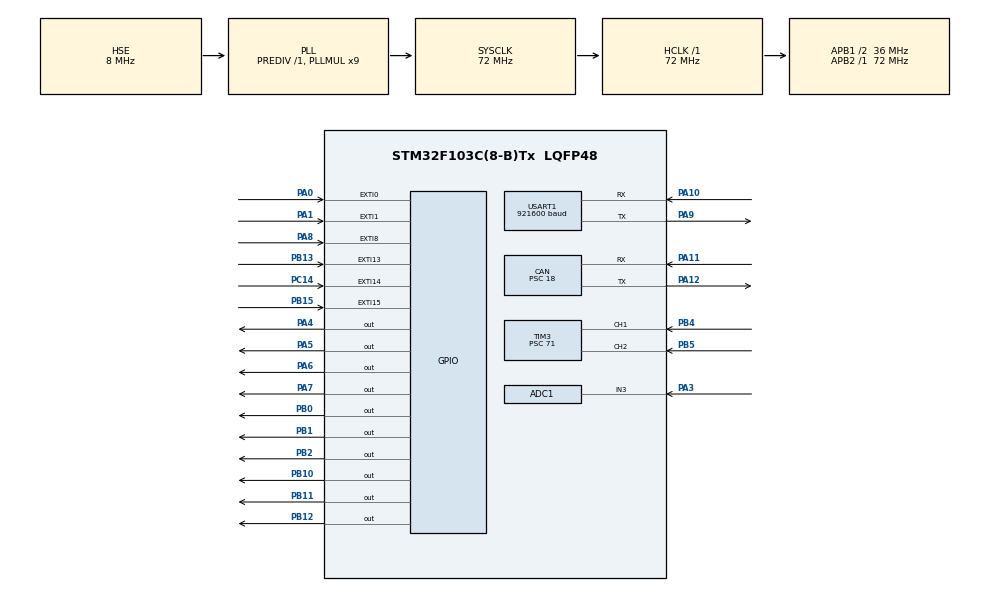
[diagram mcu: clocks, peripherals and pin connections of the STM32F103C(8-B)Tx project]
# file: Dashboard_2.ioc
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ADC1.Channel-0\#ChannelRegularConversion=ADC_CHANNEL_3
ADC1.NbrOfConversionFlag=1
ADC1.Rank-0\#ChannelRegularConversion=1
ADC1.SamplingTime-0\#ChannelRegularConversion=ADC_SAMPLETIME_1CYCLE_5
ADC1.master=1
CAN.BS1=CAN_BS1_14TQ
CAN.CalculateBaudRate=125000
CAN.CalculateTimeBit=8000
CAN.CalculateTimeQuantum=500.0
CAN.Prescaler=18
Mcu.Family=STM32F1
Mcu.Name=STM32F103C(8-B)Tx
Mcu.Package=LQFP48
NVIC.CAN1_RX1_IRQn=true\:0\:0\:false\:false\:true\:true\:true\:true
NVIC.EXTI0_IRQn=true\:0\:0\:false\:false\:true\:true\:true\:true
NVIC.EXTI15_10_IRQn=true\:0\:0\:false\:false\:true\:true\:true\:true
NVIC.EXTI1_IRQn=true\:0\:0\:false\:false\:true\:true\:true\:true
NVIC.EXTI9_5_IRQn=true\:0\:0\:false\:false\:true\:true\:true\:true
NVIC.PriorityGroup=NVIC_PRIORITYGROUP_4
NVIC.TIM1_UP_IRQn=true\:0\:0\:false\:false\:true\:true\:true\:true
NVIC.TIM3_IRQn=true\:0\:0\:false\:false\:true\:true\:true\:true
NVIC.TIM4_IRQn=true\:0\:0\:false\:false\:true\:true\:true\:true
NVIC.USART1_IRQn=true\:0\:0\:false\:false\:true\:true\:true\:true
NVIC.USB_LP_CAN1_RX0_IRQn=true\:0\:0\:false\:false\:true\:true\:true\:true
PA0-WKUP.GPIO_ModeDefaultEXTI=GPIO_MODE_IT_RISING
PA0-WKUP.GPIO_PuPd=GPIO_PULLUP
PA0-WKUP.Signal=GPXTI0
PA1.GPIO_PuPd=GPIO_PULLUP
PA1.Signal=GPXTI1
PA10.Mode=Asynchronous
PA10.Signal=USART1_RX
PA11.Mode=CAN_Activate
PA11.Signal=CAN_RX
PA12.Mode=CAN_Activate
PA12.Signal=CAN_TX
PA13.Mode=Serial_Wire
PA13.Signal=SYS_JTMS-SWDIO
PA14.Mode=Serial_Wire
PA14.Signal=SYS_JTCK-SWCLK
PA3.Signal=ADCx_IN3
PA4.Signal=GPIO_Output
PA5.Signal=GPIO_Output
PA6.Signal=GPIO_Output
PA7.Signal=GPIO_Output
PA8.GPIO_PuPd=GPIO_PULLUP
PA8.Signal=GPXTI8
PA9.Mode=Asynchronous
PA9.Signal=USART1_TX
PB0.Signal=GPIO_Output
PB1.Signal=GPIO_Output
PB10.Signal=GPIO_Output
PB11.Signal=GPIO_Output
PB12.Signal=GPIO_Output
PB13.GPIO_PuPd=GPIO_PULLUP
PB13.Signal=GPXTI13
PB15.GPIO_PuPd=GPIO_PULLUP
PB15.Signal=GPXTI15
PB2.Signal=GPIO_Output
PB4.Signal=S_TIM3_CH1
PB5.Signal=S_TIM3_CH2
PC14-OSC32_IN.GPIO_PuPd=GPIO_PULLUP
PC14-OSC32_IN.Signal=GPXTI14
PD0-OSC_IN.Mode=HSE-External-Oscillator
PD0-OSC_IN.Signal=RCC_OSC_IN
PD1-OSC_OUT.Mode=HSE-External-Oscillator
PD1-OSC_OUT.Signal=RCC_OSC_OUT
ProjectManager.HeapSize=0x200
ProjectManager.StackSize=0x400
ProjectManager.TargetToolchain=STM32CubeIDE
RCC.ADCPresc=RCC_ADCPCLK2_DIV6
RCC.AHBFreq_Value=72000000
RCC.APB1CLKDivider=RCC_HCLK_DIV2
RCC.APB1Freq_Value=36000000
RCC.APB1TimFreq_Value=72000000
RCC.APB2Freq_Value=72000000
RCC.APB2TimFreq_Value=72000000
RCC.HCLKFreq_Value=72000000
RCC.PLLMUL=RCC_PLL_MUL9
RCC.PLLSourceVirtual=RCC_PLLSOURCE_HSE
RCC.SYSCLKFreq_VALUE=72000000
RCC.SYSCLKSource=RCC_SYSCLKSOURCE_PLLCLK
RCC.USBFreq_Value=72000000
SH.ADCx_IN3.0=ADC1_IN3,IN3
SH.S_TIM3_CH1.0=TIM3_CH1,Input_Capture1_from_TI1
SH.S_TIM3_CH2.0=TIM3_CH2,Input_Capture2_from_TI2
TIM1.Period=749
TIM1.Prescaler=7199
TIM2.Prescaler=7199
TIM3.Channel-Input_Capture1_from_TI1=TIM_CHANNEL_1
TIM3.Channel-Input_Capture2_from_TI2=TIM_CHANNEL_2
TIM3.Period=65535
TIM3.Prescaler=71
TIM4.Period=9999
TIM4.Prescaler=71
USART1.BaudRate=921600
USART1.VirtualMode=VM_ASYNC
VP_TIM1_VS_ClockSourceINT.Mode=Internal
VP_TIM2_VS_ClockSourceINT.Mode=Internal
VP_TIM3_VS_ClockSourceINT.Mode=Internal
VP_TIM4_VS_ClockSourceINT.Mode=Internal
board=custom

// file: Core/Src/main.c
/* USER CODE BEGIN Header */
/**
 ******************************************************************************
 * @file           : main.c
 * @brief          : Main program body
 ******************************************************************************
 * @attention
 *
 * Copyright (c) 2025 STMicroelectronics.
 * All rights reserved.
 *
 * This software is licensed under terms that can be found in the LICENSE file
 * in the root directory of this software component.
 * If no LICENSE file comes with this software, it is provided AS-IS.
 *
 ******************************************************************************
 */
/* USER CODE END Header */
#include "main.h"

/* USER CODE BEGIN Includes */
#include "string.h"

#include "Nextion_int.h"

#include "Dashboard_int.h"
#include "Dashboard_config.h"

#include "PROX_int.h"
#include "PROX_config.h"

/* USER CODE END Includes */

ADC_HandleTypeDef hadc1;

CAN_HandleTypeDef hcan;

TIM_HandleTypeDef htim1;
TIM_HandleTypeDef htim2;
TIM_HandleTypeDef htim3;
TIM_HandleTypeDef htim4;

UART_HandleTypeDef huart1;

/* USER CODE BEGIN PV */
uint32_t Global_u32Variable_Overflow_Counter = 0;

extern Nextion Lap_Time;
extern Nextion Last_Lap;
extern Nextion Best_Lap;

extern Nextion ERPM_Slider;
extern Nextion Temp_Slider;
extern Nextion Throttle_Slider;
extern Nextion Brake_Slider;
extern Nextion Battery_Perc;

extern uint8_t Current_Page;

uint16_t adc_value = 0;

//CAN_RxHeaderTypeDef Rx_Led_on;
//
//uint8_t RxData[8];
/* USER CODE END PV */

void SystemClock_Config(void);
static void MX_GPIO_Init(void);
static void MX_CAN_Init(void);
static void MX_TIM1_Init(void);
static void MX_TIM3_Init(void);
static void MX_TIM4_Init(void);
static void MX_USART1_UART_Init(void);
static void MX_ADC1_Init(void);
static void MX_TIM2_Init(void);

/* USER CODE BEGIN 0 */
//uint64_t aData = 0;

void HAL_CAN_RxFifo0MsgPendingCallback(CAN_HandleTypeDef *hcan)
{
	CAN_Message(hcan);
}

//void HAL_CAN_RxFifo0MsgPendingCallback(CAN_HandleTypeDef *hcan)
//{
//
//	if (HAL_CAN_GetRxMessage(hcan, CAN_RX_FIFO0, &Rx_Led_on, RxData) == HAL_OK)
//	{
//
//
//
//		//itoa((uint8_t)RxData[0], numBuf, 10);
//
////		HAL_UART_Transmit(&huart, (uint8_t*)numBuf, strlen(numBuf), HAL_MAX_DELAY);
//		//HAL_UART_Transmit(&huart, (uint8_t*)"\r\n", 2, HAL_MAX_DELAY);
//
//	}
//
//}
void HAL_GPIO_EXTI_Callback(uint16_t GPIO_Pin)
{
	switch (GPIO_Pin)
	{
	case EXTI_LAP_RESET_BUTTON:     // PA0 - Lap Timer Reset
		LabTimer_Buttons_Callback(&htim1, GPIO_Pin);
		break;

	case EXTI_COUNT_STOP_BUTTON:    // PA1 - Start/Stop
		LabTimer_Buttons_Callback(&htim1, GPIO_Pin);
		break;

	case EXTI_DAQ_RESET_BUTTON:     // PA8 - DAQ Reset
		// TODO: add DAQ reset handler here
		break;

	case EXTI_PREV_PAGE_BUTTON:     // PB13 - Prev Page
		Nextion_PrevPage();
		break;

	case EXTI_NEXT_PAGE_BUTTON:     // PC14 - Next Page
		Nextion_NextPage();
		break;

	case EXTI_REGEN_BUTTON:         // PB15 - Regen Braking
		// TODO: add regen braking handler here
		break;

	default:
		break;
	}
}

void HAL_TIM_IC_CaptureCallback(TIM_HandleTypeDef *htim)
{
	if(htim->Instance == PROX_TIMER_NO)
	{
		PROX_ICUCallBack_ISR(&PROX_TIMER_HANDLE);
	}
}

void HAL_TIM_PeriodElapsedCallback(TIM_HandleTypeDef *htim)
{
	if(htim->Instance == PROX_TIMER_NO)  // TIM3
	{
		Global_u32Variable_Overflow_Counter++;
		PROX_OverflowCallBack_ISR(htim);
	}

	if(htim->Instance == DASHBOARD_BUTTONS_DEBOUNCE_TIMER_NO)  // TIM1
	{
		Debouncing_CallBack(&DASHBOARD_BUTTONS_DEBOUNCE_TIMER_HANDLE);
	}

	if(htim->Instance == DASHBOARD_LABSTOPWATCH_TIMER_NO)  // TIM4
	{
		LabTimer_CallBack_ISR();
	}
}

/* USER CODE END 0 */

int main(void)
{

  /* MCU Configuration--------------------------------------------------------*/

  /* Reset of all peripherals, Initializes the Flash interface and the Systick. */
  HAL_Init();

  /* Configure the system clock */
  SystemClock_Config();

  /* Initialize all configured peripherals */
  MX_GPIO_Init();
  MX_CAN_Init();
  MX_TIM1_Init();
  MX_TIM3_Init();
  MX_TIM4_Init();
  MX_USART1_UART_Init();
  MX_ADC1_Init();
  MX_TIM2_Init();
  /* USER CODE BEGIN 2 */
//	HAL_CAN_ActivateNotification(&hcan,CAN_IT_RX_FIFO0_MSG_PENDING);
//	HAL_CAN_Start(&hcan);

	Dashboard_Init();
	PROX_INIT();

	//HAL_ADC_Start(&hadc1);

  /* USER CODE END 2 */

  /* Infinite loop */
  /* USER CODE BEGIN WHILE */
	while (1)
	{
		Dashboard_CheckCAN();
    /* USER CODE END WHILE */

    /* USER CODE BEGIN 3 */
//		HAL_ADC_PollForConversion(&hadc1, HAL_MAX_DELAY);
//
//		hadc_value = HAL_ADC_GetValue(&hadc1);
//
//		Nextion_SetVal(&huart1, &Throttle_Slider, (adc_value/4095.0)*100);
//		Nextion_SetVal(&huart1, &Brake_Slider, (adc_value/4095.0)*100);
//		Nextion_SetVal(&huart1, &Temp_Slider, (adc_value/4095.0)*100);
//		Nextion_SetVal(&huart1, &ERPM_Slider, (adc_value/4095.0)*100);
//
//		HAL_Delay(15);
	}
  /* USER CODE END 3 */
}

void SystemClock_Config(void)
{
  RCC_OscInitTypeDef RCC_OscInitStruct = {0};
  RCC_ClkInitTypeDef RCC_ClkInitStruct = {0};
  RCC_PeriphCLKInitTypeDef PeriphClkInit = {0};

  /** Initializes the RCC Oscillators according to the specified parameters
  * in the RCC_OscInitTypeDef structure.
  */
  RCC_OscInitStruct.OscillatorType = RCC_OSCILLATORTYPE_HSE;
  RCC_OscInitStruct.HSEState = RCC_HSE_ON;
  RCC_OscInitStruct.HSEPredivValue = RCC_HSE_PREDIV_DIV1;
  RCC_OscInitStruct.HSIState = RCC_HSI_ON;
  RCC_OscInitStruct.PLL.PLLState = RCC_PLL_ON;
  RCC_OscInitStruct.PLL.PLLSource = RCC_PLLSOURCE_HSE;
  RCC_OscInitStruct.PLL.PLLMUL = RCC_PLL_MUL9;
  if (HAL_RCC_OscConfig(&RCC_OscInitStruct) != HAL_OK)
  {
    Error_Handler();
  }

  /** Initializes the CPU, AHB and APB buses clocks
  */
  RCC_ClkInitStruct.ClockType = RCC_CLOCKTYPE_HCLK|RCC_CLOCKTYPE_SYSCLK
                              |RCC_CLOCKTYPE_PCLK1|RCC_CLOCKTYPE_PCLK2;
  RCC_ClkInitStruct.SYSCLKSource = RCC_SYSCLKSOURCE_PLLCLK;
  RCC_ClkInitStruct.AHBCLKDivider = RCC_SYSCLK_DIV1;
  RCC_ClkInitStruct.APB1CLKDivider = RCC_HCLK_DIV2;
  RCC_ClkInitStruct.APB2CLKDivider = RCC_HCLK_DIV1;

  if (HAL_RCC_ClockConfig(&RCC_ClkInitStruct, FLASH_LATENCY_2) != HAL_OK)
  {
    Error_Handler();
  }
  PeriphClkInit.PeriphClockSelection = RCC_PERIPHCLK_ADC;
  PeriphClkInit.AdcClockSelection = RCC_ADCPCLK2_DIV6;
  if (HAL_RCCEx_PeriphCLKConfig(&PeriphClkInit) != HAL_OK)
  {
    Error_Handler();
  }
}

static void MX_ADC1_Init(void)
{

  ADC_ChannelConfTypeDef sConfig = {0};

  /** Common config
  */
  hadc1.Instance = ADC1;
  hadc1.Init.ScanConvMode = ADC_SCAN_DISABLE;
  hadc1.Init.ContinuousConvMode = DISABLE;
  hadc1.Init.DiscontinuousConvMode = DISABLE;
  hadc1.Init.ExternalTrigConv = ADC_SOFTWARE_START;
  hadc1.Init.DataAlign = ADC_DATAALIGN_RIGHT;
  hadc1.Init.NbrOfConversion = 1;
  if (HAL_ADC_Init(&hadc1) != HAL_OK)
  {
    Error_Handler();
  }

  /** Configure Regular Channel
  */
  sConfig.Channel = ADC_CHANNEL_3;
  sConfig.Rank = ADC_REGULAR_RANK_1;
  sConfig.SamplingTime = ADC_SAMPLETIME_1CYCLE_5;
  if (HAL_ADC_ConfigChannel(&hadc1, &sConfig) != HAL_OK)
  {
    Error_Handler();
  }

}

static void MX_CAN_Init(void)
{

  hcan.Instance = CAN1;
  hcan.Init.Prescaler = 18;
  hcan.Init.Mode = CAN_MODE_NORMAL;
  hcan.Init.SyncJumpWidth = CAN_SJW_1TQ;
  hcan.Init.TimeSeg1 = CAN_BS1_14TQ;
  hcan.Init.TimeSeg2 = CAN_BS2_1TQ;
  hcan.Init.TimeTriggeredMode = DISABLE;
  hcan.Init.AutoBusOff = DISABLE;
  hcan.Init.AutoWakeUp = DISABLE;
  hcan.Init.AutoRetransmission = DISABLE;
  hcan.Init.ReceiveFifoLocked = DISABLE;
  hcan.Init.TransmitFifoPriority = DISABLE;
  if (HAL_CAN_Init(&hcan) != HAL_OK)
  {
    Error_Handler();
  }
  /* USER CODE BEGIN CAN_Init 2 */
	CAN_FilterTypeDef canfilterconfig;

	canfilterconfig.FilterActivation = CAN_FILTER_ENABLE;
	canfilterconfig.FilterBank = 0;
	canfilterconfig.FilterFIFOAssignment = CAN_FILTER_FIFO0;
	canfilterconfig.FilterIdHigh = 0x0<<5;
	canfilterconfig.FilterIdLow = 0;
	canfilterconfig.FilterMaskIdHigh = 0x0<<5;
	canfilterconfig.FilterMaskIdLow = 0x0000;
	canfilterconfig.FilterMode = CAN_FILTERMODE_IDMASK;
	canfilterconfig.FilterScale = CAN_FILTERSCALE_16BIT;

	HAL_CAN_ConfigFilter(&hcan, &canfilterconfig);

  /* USER CODE END CAN_Init 2 */

}

static void MX_TIM1_Init(void)
{

  TIM_ClockConfigTypeDef sClockSourceConfig = {0};
  TIM_MasterConfigTypeDef sMasterConfig = {0};

  htim1.Instance = TIM1;
  htim1.Init.Prescaler = 7199;
  htim1.Init.CounterMode = TIM_COUNTERMODE_UP;
  htim1.Init.Period = 749;
  htim1.Init.ClockDivision = TIM_CLOCKDIVISION_DIV1;
  htim1.Init.RepetitionCounter = 0;
  htim1.Init.AutoReloadPreload = TIM_AUTORELOAD_PRELOAD_DISABLE;
  if (HAL_TIM_Base_Init(&htim1) != HAL_OK)
  {
    Error_Handler();
  }
  sClockSourceConfig.ClockSource = TIM_CLOCKSOURCE_INTERNAL;
  if (HAL_TIM_ConfigClockSource(&htim1, &sClockSourceConfig) != HAL_OK)
  {
    Error_Handler();
  }
  sMasterConfig.MasterOutputTrigger = TIM_TRGO_RESET;
  sMasterConfig.MasterSlaveMode = TIM_MASTERSLAVEMODE_DISABLE;
  if (HAL_TIMEx_MasterConfigSynchronization(&htim1, &sMasterConfig) != HAL_OK)
  {
    Error_Handler();
  }

}

static void MX_TIM2_Init(void)
{

  TIM_ClockConfigTypeDef sClockSourceConfig = {0};
  TIM_MasterConfigTypeDef sMasterConfig = {0};

  /* USER CODE BEGIN TIM2_Init 1 */
  HAL_TIM_Base_Start(&htim2);  // REMOVE IF WATCHDOG DOESNT work

  /* USER CODE END TIM2_Init 1 */
  htim2.Instance = TIM2;
  htim2.Init.Prescaler = 7199;
  htim2.Init.CounterMode = TIM_COUNTERMODE_UP;
  htim2.Init.Period = 65535;
  htim2.Init.ClockDivision = TIM_CLOCKDIVISION_DIV1;
  htim2.Init.AutoReloadPreload = TIM_AUTORELOAD_PRELOAD_DISABLE;
  if (HAL_TIM_Base_Init(&htim2) != HAL_OK)
  {
    Error_Handler();
  }
  sClockSourceConfig.ClockSource = TIM_CLOCKSOURCE_INTERNAL;
  if (HAL_TIM_ConfigClockSource(&htim2, &sClockSourceConfig) != HAL_OK)
  {
    Error_Handler();
  }
  sMasterConfig.MasterOutputTrigger = TIM_TRGO_RESET;
  sMasterConfig.MasterSlaveMode = TIM_MASTERSLAVEMODE_DISABLE;
  if (HAL_TIMEx_MasterConfigSynchronization(&htim2, &sMasterConfig) != HAL_OK)
  {
    Error_Handler();
  }

}

static void MX_TIM3_Init(void)
{

  TIM_ClockConfigTypeDef sClockSourceConfig = {0};
  TIM_MasterConfigTypeDef sMasterConfig = {0};
  TIM_IC_InitTypeDef sConfigIC = {0};

  htim3.Instance = TIM3;
  htim3.Init.Prescaler = 71;
  htim3.Init.CounterMode = TIM_COUNTERMODE_UP;
  htim3.Init.Period = 65535;
  htim3.Init.ClockDivision = TIM_CLOCKDIVISION_DIV1;
  htim3.Init.AutoReloadPreload = TIM_AUTORELOAD_PRELOAD_DISABLE;
  if (HAL_TIM_Base_Init(&htim3) != HAL_OK)
  {
    Error_Handler();
  }
  sClockSourceConfig.ClockSource = TIM_CLOCKSOURCE_INTERNAL;
  if (HAL_TIM_ConfigClockSource(&htim3, &sClockSourceConfig) != HAL_OK)
  {
    Error_Handler();
  }
  if (HAL_TIM_IC_Init(&htim3) != HAL_OK)
  {
    Error_Handler();
  }
  sMasterConfig.MasterOutputTrigger = TIM_TRGO_RESET;
  sMasterConfig.MasterSlaveMode = TIM_MASTERSLAVEMODE_DISABLE;
  if (HAL_TIMEx_MasterConfigSynchronization(&htim3, &sMasterConfig) != HAL_OK)
  {
    Error_Handler();
  }
  sConfigIC.ICPolarity = TIM_INPUTCHANNELPOLARITY_RISING;
  sConfigIC.ICSelection = TIM_ICSELECTION_DIRECTTI;
  sConfigIC.ICPrescaler = TIM_ICPSC_DIV1;
  sConfigIC.ICFilter = 0;
  if (HAL_TIM_IC_ConfigChannel(&htim3, &sConfigIC, TIM_CHANNEL_1) != HAL_OK)
  {
    Error_Handler();
  }
  if (HAL_TIM_IC_ConfigChannel(&htim3, &sConfigIC, TIM_CHANNEL_2) != HAL_OK)
  {
    Error_Handler();
  }

}

static void MX_TIM4_Init(void)
{

  TIM_ClockConfigTypeDef sClockSourceConfig = {0};
  TIM_MasterConfigTypeDef sMasterConfig = {0};

  htim4.Instance = TIM4;
  htim4.Init.Prescaler = 71;
  htim4.Init.CounterMode = TIM_COUNTERMODE_UP;
  htim4.Init.Period = 9999;
  htim4.Init.ClockDivision = TIM_CLOCKDIVISION_DIV1;
  htim4.Init.AutoReloadPreload = TIM_AUTORELOAD_PRELOAD_DISABLE;
  if (HAL_TIM_Base_Init(&htim4) != HAL_OK)
  {
    Error_Handler();
  }
  sClockSourceConfig.ClockSource = TIM_CLOCKSOURCE_INTERNAL;
  if (HAL_TIM_ConfigClockSource(&htim4, &sClockSourceConfig) != HAL_OK)
  {
    Error_Handler();
  }
  sMasterConfig.MasterOutputTrigger = TIM_TRGO_RESET;
  sMasterConfig.MasterSlaveMode = TIM_MASTERSLAVEMODE_DISABLE;
  if (HAL_TIMEx_MasterConfigSynchronization(&htim4, &sMasterConfig) != HAL_OK)
  {
    Error_Handler();
  }

}

static void MX_USART1_UART_Init(void)
{

  huart1.Instance = USART1;
  huart1.Init.BaudRate = 921600;
  huart1.Init.WordLength = UART_WORDLENGTH_8B;
  huart1.Init.StopBits = UART_STOPBITS_1;
  huart1.Init.Parity = UART_PARITY_NONE;
  huart1.Init.Mode = UART_MODE_TX_RX;
  huart1.Init.HwFlowCtl = UART_HWCONTROL_NONE;
  huart1.Init.OverSampling = UART_OVERSAMPLING_16;
  if (HAL_UART_Init(&huart1) != HAL_OK)
  {
    Error_Handler();
  }

}

static void MX_GPIO_Init(void)
{
  GPIO_InitTypeDef GPIO_InitStruct = {0};

  /* GPIO Ports Clock Enable */
  __HAL_RCC_GPIOC_CLK_ENABLE();
  __HAL_RCC_GPIOD_CLK_ENABLE();
  __HAL_RCC_GPIOA_CLK_ENABLE();
  __HAL_RCC_GPIOB_CLK_ENABLE();

  /*Configure GPIO pin Output Level */
  HAL_GPIO_WritePin(GPIOA, GPIO_PIN_4|GPIO_PIN_5|GPIO_PIN_6|GPIO_PIN_7, GPIO_PIN_RESET);

  /*Configure GPIO pin Output Level */
  HAL_GPIO_WritePin(GPIOB, GPIO_PIN_0|GPIO_PIN_1|GPIO_PIN_2|GPIO_PIN_10
                          |GPIO_PIN_11|GPIO_PIN_12, GPIO_PIN_RESET);

  /*Configure GPIO pin : PC14 */
  GPIO_InitStruct.Pin = GPIO_PIN_14;
  GPIO_InitStruct.Mode = GPIO_MODE_IT_RISING;
  GPIO_InitStruct.Pull = GPIO_PULLUP;
  HAL_GPIO_Init(GPIOC, &GPIO_InitStruct);

  /*Configure GPIO pins : PA0 PA1 PA8 */
  GPIO_InitStruct.Pin = GPIO_PIN_0|GPIO_PIN_1|GPIO_PIN_8;
  GPIO_InitStruct.Mode = GPIO_MODE_IT_RISING;
  GPIO_InitStruct.Pull = GPIO_PULLUP;
  HAL_GPIO_Init(GPIOA, &GPIO_InitStruct);

  /*Configure GPIO pins : PA4 PA5 PA6 PA7 */
  GPIO_InitStruct.Pin = GPIO_PIN_4|GPIO_PIN_5|GPIO_PIN_6|GPIO_PIN_7;
  GPIO_InitStruct.Mode = GPIO_MODE_OUTPUT_PP;
  GPIO_InitStruct.Pull = GPIO_NOPULL;
  GPIO_InitStruct.Speed = GPIO_SPEED_FREQ_LOW;
  HAL_GPIO_Init(GPIOA, &GPIO_InitStruct);

  /*Configure GPIO pins : PB0 PB1 PB2 PB10
                           PB11 PB12 */
  GPIO_InitStruct.Pin = GPIO_PIN_0|GPIO_PIN_1|GPIO_PIN_2|GPIO_PIN_10
                          |GPIO_PIN_11|GPIO_PIN_12;
  GPIO_InitStruct.Mode = GPIO_MODE_OUTPUT_PP;
  GPIO_InitStruct.Pull = GPIO_NOPULL;
  GPIO_InitStruct.Speed = GPIO_SPEED_FREQ_LOW;
  HAL_GPIO_Init(GPIOB, &GPIO_InitStruct);

  /*Configure GPIO pins : PB13 PB15 */
  GPIO_InitStruct.Pin = GPIO_PIN_13|GPIO_PIN_15;
  GPIO_InitStruct.Mode = GPIO_MODE_IT_RISING;
  GPIO_InitStruct.Pull = GPIO_PULLUP;
  HAL_GPIO_Init(GPIOB, &GPIO_InitStruct);

  /* EXTI interrupt init*/
  HAL_NVIC_SetPriority(EXTI0_IRQn, 0, 0);
  HAL_NVIC_EnableIRQ(EXTI0_IRQn);

  HAL_NVIC_SetPriority(EXTI1_IRQn, 0, 0);
  HAL_NVIC_EnableIRQ(EXTI1_IRQn);

  HAL_NVIC_SetPriority(EXTI9_5_IRQn, 0, 0);
  HAL_NVIC_EnableIRQ(EXTI9_5_IRQn);

  HAL_NVIC_SetPriority(EXTI15_10_IRQn, 0, 0);
  HAL_NVIC_EnableIRQ(EXTI15_10_IRQn);

}

void Error_Handler(void)
{
	__disable_irq();
	while (1)
	{
	}
}
